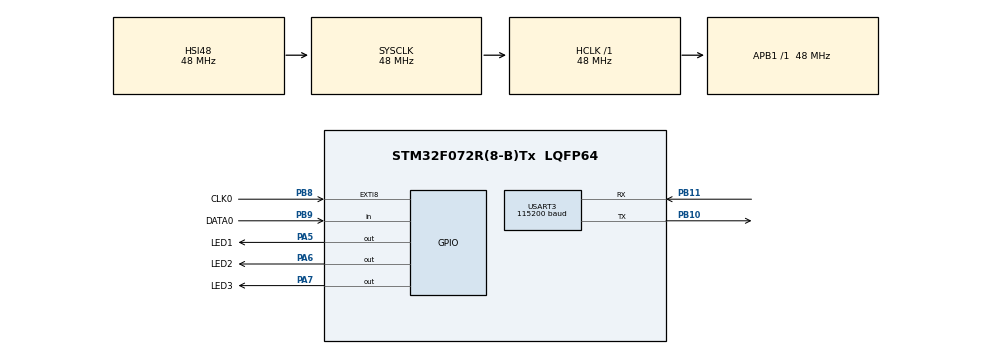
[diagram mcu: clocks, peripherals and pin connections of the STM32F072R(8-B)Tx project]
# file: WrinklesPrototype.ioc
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Mcu.Family=STM32F0
Mcu.Name=STM32F072R(8-B)Tx
Mcu.Package=LQFP64
NVIC.EXTI4_15_IRQn=true\:0\:0\:false\:false\:true
NVIC.TIM14_IRQn=true\:0\:0\:false\:false\:true
PA5.GPIO_Label=LED1
PA5.Signal=GPIO_Output
PA6.GPIO_Label=LED2
PA6.Signal=GPIO_Output
PA7.GPIO_Label=LED3
PA7.Signal=GPIO_Output
PB10.Mode=Asynchronous
PB10.Signal=USART3_TX
PB11.Mode=Asynchronous
PB11.Signal=USART3_RX
PB8.GPIO_Label=CLK0
PB8.Signal=GPXTI8
PB9.GPIO_Label=DATA0
PB9.Signal=GPIO_Input
ProjectManager.HeapSize=0x200
ProjectManager.StackSize=0x400
ProjectManager.TargetToolchain=MDK-ARM V5
RCC.AHBFreq_Value=48000000
RCC.APB1Freq_Value=48000000
RCC.APB1TimFreq_Value=48000000
RCC.HCLKFreq_Value=48000000
RCC.SYSCLKFreq_VALUE=48000000
RCC.SYSCLKSource=RCC_SYSCLKSOURCE_HSI48
TIM14.Period=65535
TIM14.Prescaler=7
TIM14.Pulse=150
USART3.BaudRate=115200
USART3.WordLength=UART_WORDLENGTH_8B
VP_TIM14_VS_ClockSourceINT.Mode=Enable_Timer
VP_TIM14_VS_no_output1.Mode=Output Compare1 No Output
board=WrinklesPrototype

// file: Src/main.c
/**
  ******************************************************************************
  * File Name          : main.c
  * Description        : Main program body
  ******************************************************************************
  *
  * COPYRIGHT(c) 2017 STMicroelectronics
  *
  * Redistribution and use in source and binary forms, with or without modification,
  * are permitted provided that the following conditions are met:
  *   1. Redistributions of source code must retain the above copyright notice,
  *      this list of conditions and the following disclaimer.
  *   2. Redistributions in binary form must reproduce the above copyright notice,
  *      this list of conditions and the following disclaimer in the documentation
  *      and/or other materials provided with the distribution.
  *   3. Neither the name of STMicroelectronics nor the names of its contributors
  *      may be used to endorse or promote products derived from this software
  *      without specific prior written permission.
  *
  * THIS SOFTWARE IS PROVIDED BY THE COPYRIGHT HOLDERS AND CONTRIBUTORS "AS IS"
  * AND ANY EXPRESS OR IMPLIED WARRANTIES, INCLUDING, BUT NOT LIMITED TO, THE
  * IMPLIED WARRANTIES OF MERCHANTABILITY AND FITNESS FOR A PARTICULAR PURPOSE ARE
  * DISCLAIMED. IN NO EVENT SHALL THE COPYRIGHT HOLDER OR CONTRIBUTORS BE LIABLE
  * FOR ANY DIRECT, INDIRECT, INCIDENTAL, SPECIAL, EXEMPLARY, OR CONSEQUENTIAL
  * DAMAGES (INCLUDING, BUT NOT LIMITED TO, PROCUREMENT OF SUBSTITUTE GOODS OR
  * SERVICES; LOSS OF USE, DATA, OR PROFITS; OR BUSINESS INTERRUPTION) HOWEVER
  * CAUSED AND ON ANY THEORY OF LIABILITY, WHETHER IN CONTRACT, STRICT LIABILITY,
  * OR TORT (INCLUDING NEGLIGENCE OR OTHERWISE) ARISING IN ANY WAY OUT OF THE USE
  * OF THIS SOFTWARE, EVEN IF ADVISED OF THE POSSIBILITY OF SUCH DAMAGE.
  *
  ******************************************************************************
  */
#include "main.h"
#include "stm32f0xx_hal.h"

/* USER CODE BEGIN Includes */
#include "PS2Interface.h"
/* USER CODE END Includes */

TIM_HandleTypeDef htim14;

UART_HandleTypeDef huart3;

/* USER CODE BEGIN PV */
/* Private variables ---------------------------------------------------------*/

/* USER CODE END PV */

void SystemClock_Config(void);
void Error_Handler(void);
static void MX_GPIO_Init(void);
static void MX_USART3_UART_Init(void);
static void MX_TIM14_Init(void);

/* USER CODE BEGIN PFP */
/* Private function prototypes -----------------------------------------------*/

/* USER CODE END PFP */

/* USER CODE BEGIN 0 */

/* USER CODE BEGIN 0 */
#ifdef __GNUC__
  /* With GCC/RAISONANCE, small printf (option LD Linker->Libraries->Small printf
     set to 'Yes') calls __io_putchar() */
  #define PUTCHAR_PROTOTYPE int __io_putchar(int ch)
#else
  #define PUTCHAR_PROTOTYPE int fputc(int ch, FILE *f)
#endif /* __GNUC__ */

/**
  * @brief  Retargets the C library printf function to the USART.
  * @param  None
  * @retval None
  */
PUTCHAR_PROTOTYPE
{
  /* Place your implementation of fputc here */
  /* e.g. write a character to the EVAL_COM1 and Loop until the end of transmission */
  HAL_UART_Transmit(&huart3, (uint8_t *)&ch, 1, 0xFFFF);

  return ch;
}

T_PS2Interface PS2Interface0;

void PS2_0_TimeOut_Restart()
{
  // start time-out timer from 0 value
  HAL_TIM_OC_Start_IT(&htim14, TIM_CHANNEL_1);
  __HAL_TIM_SET_COUNTER(&htim14, 0);
}

// functions for driving pins should impelement the following:
// if value == 0, configure pin as open drain and pull it do groung
// if value == 1, configure pin as input
// then make pause to form proper baudrate
void PS2_0_SCLK_Drive(uint8_t value)
{
  GPIO_InitTypeDef GPIO_InitStruct;
  int i;

  GPIO_InitStruct.Pin = CLK0_Pin;
  GPIO_InitStruct.Pull = GPIO_PULLUP;

  if (value == 0)
  {
    // configure as open-drain
    GPIO_InitStruct.Mode = GPIO_MODE_OUTPUT_OD;
    HAL_GPIO_Init(CLK0_GPIO_Port, &GPIO_InitStruct);

    // write 0
    HAL_GPIO_WritePin(CLK0_GPIO_Port, CLK0_Pin, GPIO_PIN_RESET);
  }
  else
  {
    // configure as input, external interrupt (will be externally pulled up)
    GPIO_InitStruct.Mode = GPIO_MODE_IT_RISING;
    HAL_GPIO_Init(CLK0_GPIO_Port, &GPIO_InitStruct);
  }

  //for (i = 0; i < 10000; i++) ;
}

void PS2_0_DATA_Drive(uint8_t value)
{
  GPIO_InitTypeDef GPIO_InitStruct;
  int i;

  GPIO_InitStruct.Pin = DATA0_Pin;
  GPIO_InitStruct.Pull = GPIO_PULLUP;

  if (value == 0)
  {
    // configure open-drain
    GPIO_InitStruct.Mode = GPIO_MODE_OUTPUT_OD;
    HAL_GPIO_Init(DATA0_GPIO_Port, &GPIO_InitStruct);

    // write 0
    HAL_GPIO_WritePin(DATA0_GPIO_Port, DATA0_Pin, GPIO_PIN_RESET);
  }
  else
  {
    // configure as input, input (will be externally pulled up)
    GPIO_InitStruct.Mode = GPIO_MODE_INPUT;
    HAL_GPIO_Init(DATA0_GPIO_Port, &GPIO_InitStruct);
  }

  //for (i = 0; i < 10000; i++) ;
}

uint8_t PS2_0_SCLK_Get() { return (HAL_GPIO_ReadPin(CLK0_GPIO_Port, CLK0_Pin) != 0); }
uint8_t PS2_0_DATA_Get() { return (HAL_GPIO_ReadPin(DATA0_GPIO_Port, DATA0_Pin) != 0); }

int X_0 = 0;
int Y_0 = 0;
int X_1 = 0;
int Y_1 = 0;
uint32_t beep_timestamp = 0;
uint8_t beep = 0;
/* USER CODE END 0 */

int main(void)
{

  /* USER CODE BEGIN 1 */
  int iRes = 0;
  uint8_t data = 0;
  int8_t dx, dy;
  uint8_t done = 0;
  /* USER CODE END 1 */

  /* MCU Configuration----------------------------------------------------------*/

  /* Reset of all peripherals, Initializes the Flash interface and the Systick. */
  HAL_Init();

  /* Configure the system clock */
  SystemClock_Config();

  /* Initialize all configured peripherals */
  MX_GPIO_Init();
  MX_USART3_UART_Init();
  MX_TIM14_Init();

  /* USER CODE BEGIN 2 */
  __HAL_DBGMCU_FREEZE_TIM14();

/*
while (1)
{
HAL_GPIO_WritePin(LED1_GPIO_Port, LED1_Pin, GPIO_PIN_SET);
PS2_0_TimeOut_Restart();
HAL_Delay(50);
}
*/

  PS2Interface_Init(&PS2Interface0, PS2_0_SCLK_Drive, PS2_0_DATA_Drive, PS2_0_SCLK_Get, PS2_0_DATA_Get, PS2_0_TimeOut_Restart);

  // setup first mouse

  HAL_Delay(50);

	// reset response
  while( byteQueue_IsEmpty(& PS2Interface0.RxQueue) ) ; // waiting for initial response
	data = byteQueue_Get(& PS2Interface0.RxQueue);
	if (data != 0xAA)
		HAL_GPIO_WritePin(LED1_GPIO_Port, LED1_Pin, GPIO_PIN_SET);
  printf("%x\r\n", data);
	while (byteQueue_IsEmpty(& PS2Interface0.RxQueue) == 0)
  {
    data = byteQueue_Get(& PS2Interface0.RxQueue); printf("%x\r\n", data);
    HAL_Delay(1);
  }

  HAL_Delay(5);

  // 800 dpi command
  PS2Interface_Send(&PS2Interface0, 0xE8);
  PS2Interface_Send(&PS2Interface0, 0x03);

  HAL_Delay(1);
  // start broadcasting
  PS2Interface_Send(&PS2Interface0, 0xF4);

  // wait until all responses received
  HAL_Delay(10);
  // empty rx buffer
while (byteQueue_IsEmpty(& PS2Interface0.RxQueue) == 0) {	data = byteQueue_Get(& PS2Interface0.RxQueue); printf("%x\r\n", data); }

	HAL_GPIO_WritePin(LED3_GPIO_Port, LED3_Pin, GPIO_PIN_SET);
  /* USER CODE END 2 */

  /* Infinite loop */
  while (1)
  {

  /* USER CODE BEGIN 3 */
    // we got first byte
    if ( ! byteQueue_IsEmpty(& PS2Interface0.RxQueue) )
    {
      //HAL_GPIO_WritePin(LD2_GPIO_Port, LD2_Pin, GPIO_PIN_SET);

      data = byteQueue_Get(& PS2Interface0.RxQueue);
      if (data & 0x8) // probably first byte?
      {
        // wait for x byte
        while (byteQueue_IsEmpty(& PS2Interface0.RxQueue) ) ;
        dx = byteQueue_Get(& PS2Interface0.RxQueue);
        // wait for y bye
        while (byteQueue_IsEmpty(& PS2Interface0.RxQueue) ) ;
        dy = byteQueue_Get(& PS2Interface0.RxQueue);
        X_0 += dx;
        Y_0 += dy;

        //printf("X_0 = %d, Y_0 = %d\r\n", X_0, Y_0);
        printf("X_0 = %d, Y_0 = %d, X_1 = %d, Y_1 = %d\r\n", X_0, Y_0, X_1, Y_1);
				HAL_GPIO_TogglePin(LED3_GPIO_Port, LED3_Pin);
      }

      //HAL_GPIO_WritePin(LD2_GPIO_Port, LD2_Pin, GPIO_PIN_RESET);
    }
  }
  /* USER CODE END 3 */

}

/** System Clock Configuration
*/
void SystemClock_Config(void)
{

  RCC_OscInitTypeDef RCC_OscInitStruct;
  RCC_ClkInitTypeDef RCC_ClkInitStruct;

    /**Initializes the CPU, AHB and APB busses clocks
    */
  RCC_OscInitStruct.OscillatorType = RCC_OSCILLATORTYPE_HSI48;
  RCC_OscInitStruct.HSI48State = RCC_HSI48_ON;
  RCC_OscInitStruct.PLL.PLLState = RCC_PLL_NONE;
  if (HAL_RCC_OscConfig(&RCC_OscInitStruct) != HAL_OK)
  {
    Error_Handler();
  }

    /**Initializes the CPU, AHB and APB busses clocks
    */
  RCC_ClkInitStruct.ClockType = RCC_CLOCKTYPE_HCLK|RCC_CLOCKTYPE_SYSCLK
                              |RCC_CLOCKTYPE_PCLK1;
  RCC_ClkInitStruct.SYSCLKSource = RCC_SYSCLKSOURCE_HSI48;
  RCC_ClkInitStruct.AHBCLKDivider = RCC_SYSCLK_DIV1;
  RCC_ClkInitStruct.APB1CLKDivider = RCC_HCLK_DIV1;

  if (HAL_RCC_ClockConfig(&RCC_ClkInitStruct, FLASH_LATENCY_1) != HAL_OK)
  {
    Error_Handler();
  }

    /**Configure the Systick interrupt time
    */
  HAL_SYSTICK_Config(HAL_RCC_GetHCLKFreq()/1000);

    /**Configure the Systick
    */
  HAL_SYSTICK_CLKSourceConfig(SYSTICK_CLKSOURCE_HCLK);

  /* SysTick_IRQn interrupt configuration */
  HAL_NVIC_SetPriority(SysTick_IRQn, 0, 0);
}

/* TIM14 init function */
static void MX_TIM14_Init(void)
{

  TIM_OC_InitTypeDef sConfigOC;

  htim14.Instance = TIM14;
  htim14.Init.Prescaler = 47;
  htim14.Init.CounterMode = TIM_COUNTERMODE_UP;
  htim14.Init.Period = 65535;
  htim14.Init.ClockDivision = TIM_CLOCKDIVISION_DIV1;
  htim14.Init.AutoReloadPreload = TIM_AUTORELOAD_PRELOAD_DISABLE;
  if (HAL_TIM_Base_Init(&htim14) != HAL_OK)
  {
    Error_Handler();
  }

  if (HAL_TIM_OC_Init(&htim14) != HAL_OK)
  {
    Error_Handler();
  }

  sConfigOC.OCMode = TIM_OCMODE_TIMING;
  sConfigOC.Pulse = 150;
  sConfigOC.OCPolarity = TIM_OCPOLARITY_HIGH;
  sConfigOC.OCFastMode = TIM_OCFAST_DISABLE;
  if (HAL_TIM_OC_ConfigChannel(&htim14, &sConfigOC, TIM_CHANNEL_1) != HAL_OK)
  {
    Error_Handler();
  }

}

/* USART3 init function */
static void MX_USART3_UART_Init(void)
{

  huart3.Instance = USART3;
  huart3.Init.BaudRate = 115200;
  huart3.Init.WordLength = UART_WORDLENGTH_8B;
  huart3.Init.StopBits = UART_STOPBITS_1;
  huart3.Init.Parity = UART_PARITY_NONE;
  huart3.Init.Mode = UART_MODE_TX_RX;
  huart3.Init.HwFlowCtl = UART_HWCONTROL_NONE;
  huart3.Init.OverSampling = UART_OVERSAMPLING_16;
  huart3.Init.OneBitSampling = UART_ONE_BIT_SAMPLE_DISABLE;
  huart3.AdvancedInit.AdvFeatureInit = UART_ADVFEATURE_NO_INIT;
  if (HAL_UART_Init(&huart3) != HAL_OK)
  {
    Error_Handler();
  }

}

/** Configure pins as
        * Analog
        * Input
        * Output
        * EVENT_OUT
        * EXTI
*/
static void MX_GPIO_Init(void)
{

  GPIO_InitTypeDef GPIO_InitStruct;

  /* GPIO Ports Clock Enable */
  __HAL_RCC_GPIOA_CLK_ENABLE();
  __HAL_RCC_GPIOB_CLK_ENABLE();

  /*Configure GPIO pin Output Level */
  HAL_GPIO_WritePin(GPIOA, LED1_Pin|LED2_Pin|LED3_Pin, GPIO_PIN_RESET);

  /*Configure GPIO pins : LED1_Pin LED2_Pin LED3_Pin */
  GPIO_InitStruct.Pin = LED1_Pin|LED2_Pin|LED3_Pin;
  GPIO_InitStruct.Mode = GPIO_MODE_OUTPUT_PP;
  GPIO_InitStruct.Pull = GPIO_NOPULL;
  GPIO_InitStruct.Speed = GPIO_SPEED_FREQ_LOW;
  HAL_GPIO_Init(GPIOA, &GPIO_InitStruct);

  /*Configure GPIO pin : CLK0_Pin */
  GPIO_InitStruct.Pin = CLK0_Pin;
  GPIO_InitStruct.Mode = GPIO_MODE_IT_RISING;
  GPIO_InitStruct.Pull = GPIO_NOPULL;
  HAL_GPIO_Init(CLK0_GPIO_Port, &GPIO_InitStruct);

  /*Configure GPIO pin : DATA0_Pin */
  GPIO_InitStruct.Pin = DATA0_Pin;
  GPIO_InitStruct.Mode = GPIO_MODE_INPUT;
  GPIO_InitStruct.Pull = GPIO_NOPULL;
  HAL_GPIO_Init(DATA0_GPIO_Port, &GPIO_InitStruct);

  /* EXTI interrupt init*/
  HAL_NVIC_SetPriority(EXTI4_15_IRQn, 0, 0);
  HAL_NVIC_EnableIRQ(EXTI4_15_IRQn);

}

/* USER CODE BEGIN 4 */

void HAL_TIM_OC_DelayElapsedCallback(TIM_HandleTypeDef *htim)
{
  if (htim == &htim14)
  {
    HAL_TIM_OC_Stop_IT(&htim14, TIM_CHANNEL_1); // stop timer

    PS2Interface_RxTimeOutElapsed(&PS2Interface0); // call PS/2 instance callback

    //HAL_GPIO_WritePin(LED1_GPIO_Port, LED1_Pin, GPIO_PIN_RESET);
  }
}

/**
  * @brief  EXTI line detection callbacks.
  * @param  GPIO_Pin: Specifies the pins connected EXTI line
  * @retval None
  */
void HAL_GPIO_EXTI_Callback(uint16_t GPIO_Pin)
{
  uint8_t bData;

  if (GPIO_Pin == CLK0_Pin)
  {
    //HAL_GPIO_TogglePin(LD2_GPIO_Port, LD2_Pin);

    bData = HAL_GPIO_ReadPin(DATA0_GPIO_Port, DATA0_Pin); // read pin value

    PS2Interface_ProcessRx(&PS2Interface0, bData); // pass bit value to PS/2 instance

		HAL_GPIO_TogglePin(LED2_GPIO_Port, LED2_Pin);
  }
}

/* USER CODE END 4 */

void Error_Handler(void)
{
  while(1)
  {
  }
}

/************************ (C) COPYRIGHT STMicroelectronics *****END OF FILE****/
